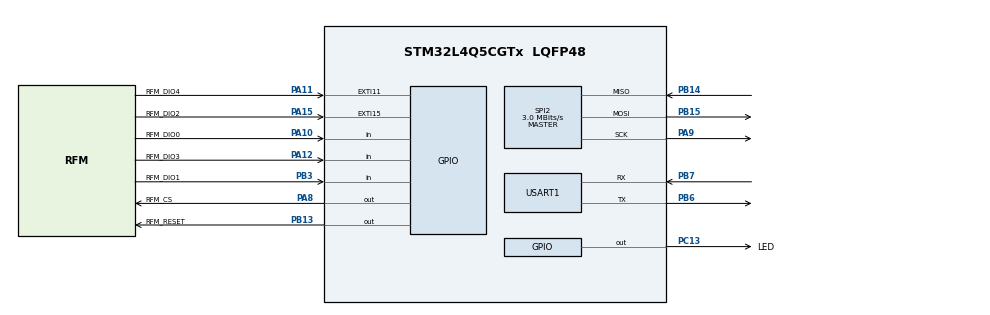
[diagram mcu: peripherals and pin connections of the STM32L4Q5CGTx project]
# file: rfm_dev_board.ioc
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Mcu.Family=STM32L4
Mcu.Name=STM32L4Q5CGTx
Mcu.Package=LQFP48
NVIC.PriorityGroup=NVIC_PRIORITYGROUP_4
NVIC.TIM7_IRQn=true\:0\:0\:false\:false\:true\:true\:false\:true
PA10.GPIO_Label=RFM_DIO0
PA10.Signal=GPIO_Input
PA11.GPIO_Label=RFM_DIO4
PA11.Signal=GPXTI11
PA12.GPIO_Label=RFM_DIO3
PA12.Signal=GPIO_Input
PA13\ (JTMS/SWDIO).Mode=Serial_Wire
PA13\ (JTMS/SWDIO).Signal=SYS_JTMS-SWDIO
PA14\ (JTCK/SWCLK).Mode=Serial_Wire
PA14\ (JTCK/SWCLK).Signal=SYS_JTCK-SWCLK
PA15\ (JTDI).GPIO_Label=RFM_DIO2
PA15\ (JTDI).Signal=GPXTI15
PA8.GPIO_Label=RFM_CS
PA8.Signal=GPIO_Output
PA9.Mode=Full_Duplex_Master
PA9.Signal=SPI2_SCK
PB13.GPIO_Label=RFM_RESET
PB13.PinState=GPIO_PIN_SET
PB13.Signal=GPIO_Output
PB14.Mode=Full_Duplex_Master
PB14.Signal=SPI2_MISO
PB15.Mode=Full_Duplex_Master
PB15.Signal=SPI2_MOSI
PB3\ (JTDO/TRACESWO).GPIO_Label=RFM_DIO1
PB3\ (JTDO/TRACESWO).Signal=GPIO_Input
PB6.Mode=Asynchronous
PB6.Signal=USART1_TX
PB7.Mode=Asynchronous
PB7.Signal=USART1_RX
PC13.GPIO_Label=LED
PC13.GPIO_ModeDefaultOutputPP=GPIO_MODE_OUTPUT_OD
PC13.GPIO_PuPd=GPIO_NOPULL
PC13.PinState=GPIO_PIN_SET
PC13.Signal=GPIO_Output
PH0-OSC_IN\ (PH0).Mode=HSE-External-Clock-Source
PH0-OSC_IN\ (PH0).Signal=RCC_OSC_IN
ProjectManager.HeapSize=0x200
ProjectManager.StackSize=0x400
ProjectManager.TargetToolchain=CMake
RCC.ADCFreq_Value=48000000
RCC.AHBFreq_Value=48000000
RCC.APB1Freq_Value=48000000
RCC.APB1TimFreq_Value=48000000
RCC.APB2Freq_Value=48000000
RCC.APB2TimFreq_Value=48000000
RCC.CortexFreq_Value=48000000
RCC.DATA_CACHE_ENABLE=1
RCC.HCLKFreq_Value=48000000
RCC.HSE_VALUE=24000000
RCC.HSI48_VALUE=48000000
RCC.HSI_VALUE=16000000
RCC.INSTRUCTION_CACHE_ENABLE=1
RCC.LSE_VALUE=32768
RCC.MSI_VALUE=4000000
RCC.PLLM1=2
RCC.PLLM2=2
RCC.PLLM3=2
RCC.PLLSourceVirtual=RCC_PLLSOURCE_HSE
RCC.PREFETCH_ENABLE=0
RCC.SYSCLKFreq_VALUE=48000000
RCC.SYSCLKSource=RCC_SYSCLKSOURCE_PLLCLK
RCC.USBFreq_Value=48000000
RCC.VCOOutputFreq_Value=96000000
SPI2.BaudRatePrescaler=SPI_BAUDRATEPRESCALER_16
SPI2.CalculateBaudRate=3.0 MBits/s
SPI2.DataSize=SPI_DATASIZE_8BIT
SPI2.Direction=SPI_DIRECTION_2LINES
SPI2.Mode=SPI_MODE_MASTER
SPI2.NSSPMode=SPI_NSS_PULSE_DISABLE
SPI2.VirtualType=VM_MASTER
TIM7.AutoReloadPreload=TIM_AUTORELOAD_PRELOAD_ENABLE
TIM7.Period=999
TIM7.Prescaler=47
USART1.VirtualMode-Asynchronous=VM_ASYNC
VP_TIM7_VS_ClockSourceINT.Mode=Enable_Timer
board=custom

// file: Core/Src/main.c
/* USER CODE BEGIN Header */
/**
  ******************************************************************************
  * @file           : main.c
  * @brief          : Main program body
  ******************************************************************************
  * @attention
  *
  * Copyright (c) 2025 STMicroelectronics.
  * All rights reserved.
  *
  * This software is licensed under terms that can be found in the LICENSE file
  * in the root directory of this software component.
  * If no LICENSE file comes with this software, it is provided AS-IS.
  *
  ******************************************************************************
  */
/* USER CODE END Header */
#include "main.h"

/* USER CODE BEGIN Includes */
#include <stdio.h>
#include "stm32l4xx_hal_gpio_ex.h"
#include "radio.h"
/* USER CODE END Includes */

/* USER CODE BEGIN PD */
#define rfm_cs_low()    LL_GPIO_ResetOutputPin(RFM_CS_GPIO_Port, RFM_CS_Pin)
#define rfm_cs_high()   LL_GPIO_SetOutputPin(RFM_CS_GPIO_Port, RFM_CS_Pin)
/* USER CODE END PD */

SPI_HandleTypeDef hspi2;

void SystemClock_Config(void);
static void MX_GPIO_Init(void);
static void MX_USART1_UART_Init(void);
static void MX_SPI2_Init(void);
static void MX_TIM7_Init(void);

int main(void)
{

  /* MCU Configuration--------------------------------------------------------*/

  /* Reset of all peripherals, Initializes the Flash interface and the Systick. */
  HAL_Init();

  /* Configure the system clock */
  SystemClock_Config();

  /* USER CODE BEGIN SysInit */
  LL_SYSTICK_EnableIT();
  /* USER CODE END SysInit */

  /* Initialize all configured peripherals */
  MX_GPIO_Init();
  MX_USART1_UART_Init();
  MX_SPI2_Init();
  MX_TIM7_Init();
  /* USER CODE BEGIN 2 */
  delay_ms_poll(500);  /* by default reset pin is set on POR */
  LL_GPIO_ResetOutputPin(RFM_RESET_GPIO_Port, RFM_RESET_Pin);
  delay_ms_poll(500);

  if(RFM_Init(1, 100) == 0)
    LL_GPIO_ResetOutputPin(LED_GPIO_Port, LED_Pin);
  /* USER CODE END 2 */

  /* Infinite loop */
  /* USER CODE BEGIN WHILE */
  while (1)
  {
    // delay_ms_poll(100);
    RFM_Routine();
    /* USER CODE END WHILE */

  }
}

void SystemClock_Config(void)
{
  LL_FLASH_SetLatency(LL_FLASH_LATENCY_2);
  while(LL_FLASH_GetLatency()!= LL_FLASH_LATENCY_2)
  {
  }
  LL_PWR_SetRegulVoltageScaling(LL_PWR_REGU_VOLTAGE_SCALE1);
  while (LL_PWR_IsActiveFlag_VOS() != 0)
  {
  }
  LL_RCC_HSE_EnableBypass();
  LL_RCC_HSE_Enable();

   /* Wait till HSE is ready */
  while(LL_RCC_HSE_IsReady() != 1)
  {

  }
  LL_RCC_PLL_ConfigDomain_SYS(LL_RCC_PLLSOURCE_HSE, LL_RCC_PLLM_DIV_2, 8, LL_RCC_PLLR_DIV_2);
  LL_RCC_PLL_EnableDomain_SYS();
  LL_RCC_PLL_Enable();

   /* Wait till PLL is ready */
  while(LL_RCC_PLL_IsReady() != 1)
  {

  }
  LL_RCC_SetSysClkSource(LL_RCC_SYS_CLKSOURCE_PLL);

   /* Wait till System clock is ready */
  while(LL_RCC_GetSysClkSource() != LL_RCC_SYS_CLKSOURCE_STATUS_PLL)
  {

  }
  LL_RCC_SetAHBPrescaler(LL_RCC_SYSCLK_DIV_1);
  LL_RCC_SetAPB1Prescaler(LL_RCC_APB1_DIV_1);
  LL_RCC_SetAPB2Prescaler(LL_RCC_APB2_DIV_1);
  LL_SetSystemCoreClock(48000000);

   /* Update the time base */
  if (HAL_InitTick (TICK_INT_PRIORITY) != HAL_OK)
  {
    Error_Handler();
  }
}

static void MX_SPI2_Init(void)
{

  /* SPI2 parameter configuration*/
  hspi2.Instance = SPI2;
  hspi2.Init.Mode = SPI_MODE_MASTER;
  hspi2.Init.Direction = SPI_DIRECTION_2LINES;
  hspi2.Init.DataSize = SPI_DATASIZE_8BIT;
  hspi2.Init.CLKPolarity = SPI_POLARITY_LOW;
  hspi2.Init.CLKPhase = SPI_PHASE_1EDGE;
  hspi2.Init.NSS = SPI_NSS_SOFT;
  hspi2.Init.BaudRatePrescaler = SPI_BAUDRATEPRESCALER_16;
  hspi2.Init.FirstBit = SPI_FIRSTBIT_MSB;
  hspi2.Init.TIMode = SPI_TIMODE_DISABLE;
  hspi2.Init.CRCCalculation = SPI_CRCCALCULATION_DISABLE;
  hspi2.Init.CRCPolynomial = 7;
  hspi2.Init.CRCLength = SPI_CRC_LENGTH_DATASIZE;
  hspi2.Init.NSSPMode = SPI_NSS_PULSE_DISABLE;
  if (HAL_SPI_Init(&hspi2) != HAL_OK)
  {
    Error_Handler();
  }

}

static void MX_TIM7_Init(void)
{

  LL_TIM_InitTypeDef TIM_InitStruct = {0};

  /* Peripheral clock enable */
  LL_APB1_GRP1_EnableClock(LL_APB1_GRP1_PERIPH_TIM7);

  /* TIM7 interrupt Init */
  NVIC_SetPriority(TIM7_IRQn, NVIC_EncodePriority(NVIC_GetPriorityGrouping(),0, 0));
  NVIC_EnableIRQ(TIM7_IRQn);

  TIM_InitStruct.Prescaler = 47;
  TIM_InitStruct.CounterMode = LL_TIM_COUNTERMODE_UP;
  TIM_InitStruct.Autoreload = 999;
  LL_TIM_Init(TIM7, &TIM_InitStruct);
  LL_TIM_EnableARRPreload(TIM7);
  LL_TIM_SetTriggerOutput(TIM7, LL_TIM_TRGO_RESET);
  LL_TIM_DisableMasterSlaveMode(TIM7);
  /* USER CODE BEGIN TIM7_Init 2 */
  LL_TIM_EnableIT_UPDATE(TIM7);
  LL_TIM_EnableCounter(TIM7);
  /* USER CODE END TIM7_Init 2 */

}

static void MX_USART1_UART_Init(void)
{

  LL_USART_InitTypeDef USART_InitStruct = {0};

  LL_GPIO_InitTypeDef GPIO_InitStruct = {0};

  LL_RCC_SetUSARTClockSource(LL_RCC_USART1_CLKSOURCE_PCLK2);

  /* Peripheral clock enable */
  LL_APB2_GRP1_EnableClock(LL_APB2_GRP1_PERIPH_USART1);

  LL_AHB2_GRP1_EnableClock(LL_AHB2_GRP1_PERIPH_GPIOB);
  /**USART1 GPIO Configuration
  PB6   ------> USART1_TX
  PB7   ------> USART1_RX
  */
  GPIO_InitStruct.Pin = LL_GPIO_PIN_6|LL_GPIO_PIN_7;
  GPIO_InitStruct.Mode = LL_GPIO_MODE_ALTERNATE;
  GPIO_InitStruct.Speed = LL_GPIO_SPEED_FREQ_VERY_HIGH;
  GPIO_InitStruct.OutputType = LL_GPIO_OUTPUT_PUSHPULL;
  GPIO_InitStruct.Pull = LL_GPIO_PULL_NO;
  GPIO_InitStruct.Alternate = LL_GPIO_AF_7;
  LL_GPIO_Init(GPIOB, &GPIO_InitStruct);

  USART_InitStruct.PrescalerValue = LL_USART_PRESCALER_DIV1;
  USART_InitStruct.BaudRate = 115200;
  USART_InitStruct.DataWidth = LL_USART_DATAWIDTH_8B;
  USART_InitStruct.StopBits = LL_USART_STOPBITS_1;
  USART_InitStruct.Parity = LL_USART_PARITY_NONE;
  USART_InitStruct.TransferDirection = LL_USART_DIRECTION_TX_RX;
  USART_InitStruct.HardwareFlowControl = LL_USART_HWCONTROL_NONE;
  USART_InitStruct.OverSampling = LL_USART_OVERSAMPLING_16;
  LL_USART_Init(USART1, &USART_InitStruct);
  LL_USART_SetTXFIFOThreshold(USART1, LL_USART_FIFOTHRESHOLD_1_8);
  LL_USART_SetRXFIFOThreshold(USART1, LL_USART_FIFOTHRESHOLD_1_8);
  LL_USART_DisableFIFO(USART1);
  LL_USART_ConfigAsyncMode(USART1);
  LL_USART_Enable(USART1);

}

static void MX_GPIO_Init(void)
{
  LL_EXTI_InitTypeDef EXTI_InitStruct = {0};
  LL_GPIO_InitTypeDef GPIO_InitStruct = {0};

  /* GPIO Ports Clock Enable */
  LL_AHB2_GRP1_EnableClock(LL_AHB2_GRP1_PERIPH_GPIOC);
  LL_AHB2_GRP1_EnableClock(LL_AHB2_GRP1_PERIPH_GPIOH);
  LL_AHB2_GRP1_EnableClock(LL_AHB2_GRP1_PERIPH_GPIOB);
  LL_AHB2_GRP1_EnableClock(LL_AHB2_GRP1_PERIPH_GPIOA);

  /**/
  LL_GPIO_SetOutputPin(LED_GPIO_Port, LED_Pin);

  /**/
  LL_GPIO_SetOutputPin(RFM_RESET_GPIO_Port, RFM_RESET_Pin);

  /**/
  LL_GPIO_ResetOutputPin(RFM_CS_GPIO_Port, RFM_CS_Pin);

  /**/
  GPIO_InitStruct.Pin = LED_Pin;
  GPIO_InitStruct.Mode = LL_GPIO_MODE_OUTPUT;
  GPIO_InitStruct.Speed = LL_GPIO_SPEED_FREQ_LOW;
  GPIO_InitStruct.OutputType = LL_GPIO_OUTPUT_OPENDRAIN;
  GPIO_InitStruct.Pull = LL_GPIO_PULL_NO;
  LL_GPIO_Init(LED_GPIO_Port, &GPIO_InitStruct);

  /**/
  GPIO_InitStruct.Pin = RFM_RESET_Pin;
  GPIO_InitStruct.Mode = LL_GPIO_MODE_OUTPUT;
  GPIO_InitStruct.Speed = LL_GPIO_SPEED_FREQ_LOW;
  GPIO_InitStruct.OutputType = LL_GPIO_OUTPUT_PUSHPULL;
  GPIO_InitStruct.Pull = LL_GPIO_PULL_NO;
  LL_GPIO_Init(RFM_RESET_GPIO_Port, &GPIO_InitStruct);

  /**/
  GPIO_InitStruct.Pin = RFM_CS_Pin;
  GPIO_InitStruct.Mode = LL_GPIO_MODE_OUTPUT;
  GPIO_InitStruct.Speed = LL_GPIO_SPEED_FREQ_LOW;
  GPIO_InitStruct.OutputType = LL_GPIO_OUTPUT_PUSHPULL;
  GPIO_InitStruct.Pull = LL_GPIO_PULL_NO;
  LL_GPIO_Init(RFM_CS_GPIO_Port, &GPIO_InitStruct);

  /**/
  GPIO_InitStruct.Pin = RFM_DIO0_Pin|RFM_DIO3_Pin;
  GPIO_InitStruct.Mode = LL_GPIO_MODE_INPUT;
  GPIO_InitStruct.Pull = LL_GPIO_PULL_NO;
  LL_GPIO_Init(GPIOA, &GPIO_InitStruct);

  /**/
  GPIO_InitStruct.Pin = RFM_DIO1_Pin;
  GPIO_InitStruct.Mode = LL_GPIO_MODE_INPUT;
  GPIO_InitStruct.Pull = LL_GPIO_PULL_NO;
  LL_GPIO_Init(RFM_DIO1_GPIO_Port, &GPIO_InitStruct);

  /**/
  LL_SYSCFG_SetEXTISource(LL_SYSCFG_EXTI_PORTA, LL_SYSCFG_EXTI_LINE11);

  /**/
  LL_SYSCFG_SetEXTISource(LL_SYSCFG_EXTI_PORTA, LL_SYSCFG_EXTI_LINE15);

  /**/
  EXTI_InitStruct.Line_0_31 = LL_EXTI_LINE_11;
  EXTI_InitStruct.Line_32_63 = LL_EXTI_LINE_NONE;
  EXTI_InitStruct.LineCommand = ENABLE;
  EXTI_InitStruct.Mode = LL_EXTI_MODE_IT;
  EXTI_InitStruct.Trigger = LL_EXTI_TRIGGER_RISING;
  LL_EXTI_Init(&EXTI_InitStruct);

  /**/
  EXTI_InitStruct.Line_0_31 = LL_EXTI_LINE_15;
  EXTI_InitStruct.Line_32_63 = LL_EXTI_LINE_NONE;
  EXTI_InitStruct.LineCommand = ENABLE;
  EXTI_InitStruct.Mode = LL_EXTI_MODE_IT;
  EXTI_InitStruct.Trigger = LL_EXTI_TRIGGER_RISING;
  LL_EXTI_Init(&EXTI_InitStruct);

  /**/
  LL_GPIO_SetPinPull(RFM_DIO4_GPIO_Port, RFM_DIO4_Pin, LL_GPIO_PULL_NO);

  /**/
  LL_GPIO_SetPinPull(RFM_DIO2_GPIO_Port, RFM_DIO2_Pin, LL_GPIO_PULL_NO);

  /**/
  LL_GPIO_SetPinMode(RFM_DIO4_GPIO_Port, RFM_DIO4_Pin, LL_GPIO_MODE_INPUT);

  /**/
  LL_GPIO_SetPinMode(RFM_DIO2_GPIO_Port, RFM_DIO2_Pin, LL_GPIO_MODE_INPUT);

}

/* USER CODE BEGIN 4 */
void rfm_write(uint8_t addr, uint8_t *ptr, uint8_t len) {
  rfm_cs_low();
  // delay_ms_poll(10);
  // /* send addr with write bit */
  // while (!LL_SPI_IsActiveFlag_TXE(RFM_SPI)) {}
  // LL_SPI_TransmitData8(RFM_SPI, addr | 128);
  // while (LL_SPI_IsActiveFlag_BSY(RFM_SPI)) {}

  // while (len--) {
  //     while (!LL_SPI_IsActiveFlag_TXE(RFM_SPI)) {}
  //     LL_SPI_TransmitData8(RFM_SPI, *(ptr++));
  // }

  // while (!LL_SPI_IsActiveFlag_TXE(RFM_SPI)) {}
  // while (LL_SPI_IsActiveFlag_BSY(RFM_SPI)) {}

  uint8_t temp = addr | 128;
  HAL_SPI_Transmit(&hspi2, &temp, 1, 100);
  HAL_SPI_Transmit(&hspi2, ptr, len, 100);

  rfm_cs_high();
}

void rfm_read(uint8_t addr, uint8_t *ptr, uint8_t len) {
  rfm_cs_low();
  // delay_ms_poll(10);
  // while (!LL_SPI_IsActiveFlag_TXE(RFM_SPI)) {}
  // LL_SPI_TransmitData8(RFM_SPI, addr);
  // while (LL_SPI_IsActiveFlag_BSY(RFM_SPI)) {}

  // /* dummy byte reading */
  // (void)RFM_SPI->DR;

  // while (len--) {
  //     /* dummy data to generate clock */
  //     while (!LL_SPI_IsActiveFlag_TXE(RFM_SPI)) {}
  //     LL_SPI_TransmitData8(RFM_SPI, 0xFF);
  //     while (LL_SPI_IsActiveFlag_BSY(RFM_SPI)) {}

  //     while (!LL_SPI_IsActiveFlag_RXNE(RFM_SPI)) {}
  //     *(ptr++) = LL_SPI_ReceiveData8(RFM_SPI);
  // }

  HAL_SPI_Transmit(&hspi2, &addr, 1, 100);
  HAL_SPI_Receive(&hspi2, ptr, len, 100);

  rfm_cs_high();
}
/* USER CODE END 4 */

void Error_Handler(void)
{
  __disable_irq();
  while (1)
  {
  }
}
